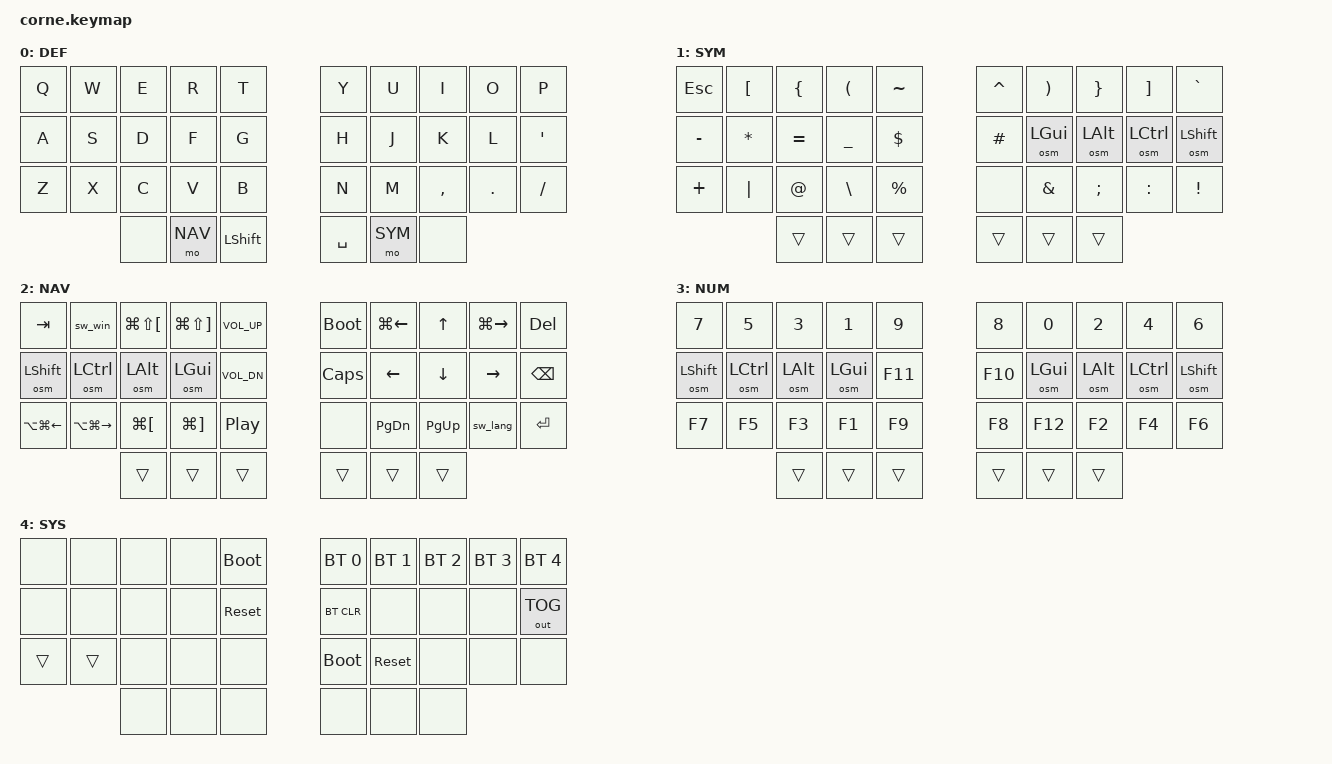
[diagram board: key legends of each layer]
/*
 * Corne 3x5+3 keymap, ported from Callum Oakley's QMK userspace:
 * https://github.com/qmk/qmk_firmware/tree/user-keymaps-still-present/users/callum
 *
 * Differences from Callum:
 *   - QWERTY base layer (Callum uses Colemak).
 *   - 3 thumb keys per side: Callum's two go on the middle + inner thumbs; the outer thumbs are blank.
 *   - One-shot mods (&osm) are a port of Callum's oneshot.c in src/behaviors/, tested in tests/oneshot/.
 *   - Added a SYS layer (hold Z+X) for Bluetooth, USB/BT output, bootloader and reset on each half.
 */

#include <behaviors.dtsi>
#include <dt-bindings/zmk/keys.h>
#include <dt-bindings/zmk/bt.h>
#include <dt-bindings/zmk/outputs.h>

#define DEF 0
#define SYM 1
#define NAV 2
#define NUM 3
#define SYS 4

// macOS shortcuts (Callum's defines; HOME/END renamed so they don't clobber ZMK's HOME/END keycodes)
#define M_HOME &kp LG(LEFT)
#define M_END  &kp LG(RIGHT)
#define FWD   &kp LG(RBKT)
#define BACK  &kp LG(LBKT)
#define TABL  &kp LG(LS(LBKT))
#define TABR  &kp LG(LS(RBKT))
#define SPCL  &kp LA(LG(LEFT))
#define SPC_R &kp LA(LG(RIGHT))

// One-shot modifiers (Callum's oneshot.c, see the osm behavior below)
#define OS_SHFT &osm LSHIFT
#define OS_CTRL &osm LCTRL
#define OS_ALT  &osm LALT
#define OS_CMD  &osm LGUI

#define XXX &none
#define ___ &trans

/ {
        chosen {
                zmk,physical-layout = &foostan_corne_5col_layout;
        };

        behaviors {
                // Callum's one-shot mods (src/behaviors/behavior_callum_oneshot.c). No timeout: a tapped
                // mod applies to the next key. Pressing NAV or SYM (positions 31, 34) cancels it.
                osm: callum_oneshot {
                        compatible = "zmk,behavior-callum-oneshot";
                        #binding-cells = <1>;
                        cancel-key-positions = <31 34>;
                };
                // Swappers (Callum's swapper.c), from the zmk-tri-state module.
                // First press: hold modifier + tap key. Further presses: tap key.
                // Any other key or layer change (e.g. releasing NAV) releases the modifier.
                sw_win: swapper_win {
                        compatible = "zmk,behavior-tri-state";
                        #binding-cells = <0>;
                        bindings = <&kt LGUI>, <&kp TAB>, <&kt LGUI>;
                        // Shift keys don't end the swap, so Shift + SW_WIN goes backwards (Cmd-Shift-Tab):
                        // 10 = NAV's one-shot Shift (A position), 32 = left inner thumb Shift.
                        ignored-key-positions = <10 32>;
                };
                sw_lang: swapper_lang {
                        compatible = "zmk,behavior-tri-state";
                        #binding-cells = <0>;
                        bindings = <&kt LCTRL>, <&kp SPACE>, <&kt LCTRL>;
                };
        };

        // Holding SYM + NAV activates NUM (Callum's tri-layer)
        conditional_layers {
                compatible = "zmk,conditional-layers";
                tri_layer {
                        if-layers = <SYM NAV>;
                        then-layer = <NUM>;
                };
        };

        combos {
                compatible = "zmk,combos";
                // Hold Z + X together for the SYS layer
                combo_sys {
                        key-positions = <20 21>;
                        bindings = <&mo SYS>;
                        timeout-ms = <50>;
                        require-prior-idle-ms = <150>;
                        layers = <DEF>;
                };
        };

        keymap {
                compatible = "zmk,keymap";

                def_layer {
                        display-name = "DEF";
// ┌─────┬─────┬─────┬─────┬─────┐   ┌─────┬─────┬─────┬─────┬─────┐
// │  Q  │  W  │  E  │  R  │  T  │   │  Y  │  U  │  I  │  O  │  P  │
// │  A  │  S  │  D  │  F  │  G  │   │  H  │  J  │  K  │  L  │  '  │
// │  Z  │  X  │  C  │  V  │  B  │   │  N  │  M  │  ,  │  .  │  /  │
// └─────┴─────┴─────┼─────┼─────┤   ├─────┼─────┼─────┴─────┴─────┘
//             │     │ NAV │SHIFT│   │SPACE│ SYM │     │
                        bindings = <
   &kp Q  &kp W  &kp E  &kp R     &kp T         &kp Y      &kp U    &kp I      &kp O    &kp P
   &kp A  &kp S  &kp D  &kp F     &kp G         &kp H      &kp J    &kp K      &kp L    &kp SQT
   &kp Z  &kp X  &kp C  &kp V     &kp B         &kp N      &kp M    &kp COMMA  &kp DOT  &kp FSLH
                 XXX    &mo NAV   &kp LSHIFT    &kp SPACE  &mo SYM  XXX
                        >;
                };

                sym_layer {
                        display-name = "SYM";
// ┌─────┬─────┬─────┬─────┬─────┐   ┌─────┬─────┬─────┬─────┬─────┐
// │ ESC │  [  │  {  │  (  │  ~  │   │  ^  │  )  │  }  │  ]  │  `  │
// │  -  │  *  │  =  │  _  │  $  │   │  #  │ CMD │ ALT │CTRL │SHIFT│  ← one-shot
// │  +  │  |  │  @  │  \  │  %  │   │     │  &  │  ;  │  :  │  !  │
// └─────┴─────┴─────┼─────┼─────┤   ├─────┼─────┼─────┴─────┴─────┘
//             │     │     │     │   │     │ ▓▓▓ │     │
                        bindings = <
   &kp ESC   &kp LBKT  &kp LBRC  &kp LPAR   &kp TILDE    &kp CARET  &kp RPAR  &kp RBRC  &kp RBKT   &kp GRAVE
   &kp MINUS &kp ASTRK &kp EQUAL &kp UNDER  &kp DLLR     &kp HASH   OS_CMD    OS_ALT    OS_CTRL    OS_SHFT
   &kp PLUS  &kp PIPE  &kp AT    &kp BSLH   &kp PRCNT    XXX        &kp AMPS  &kp SEMI  &kp COLON  &kp EXCL
                       ___       ___        ___          ___        ___       ___
                        >;
                };

                nav_layer {
                        display-name = "NAV";
// ┌─────┬─────┬─────┬─────┬─────┐   ┌─────┬─────┬─────┬─────┬─────┐
// │ TAB │SWWIN│TAB← │TAB→ │VOL+ │   │BOOT │HOME │  ↑  │ END │ DEL │
// │SHIFT│CTRL │ ALT │ CMD │VOL- │   │CAPS │  ←  │  ↓  │  →  │BSPC │  ← one-shot
// │SPC← │SPC→ │BACK │ FWD │PLAY │   │     │PGDN │PGUP │SWLNG│ ENT │
// └─────┴─────┴─────┼─────┼─────┤   ├─────┼─────┼─────┴─────┴─────┘
//             │     │ ▓▓▓ │     │   │     │     │     │
                        bindings = <
   &kp TAB  &sw_win  TABL     TABR     &kp C_VOL_UP   &bootloader  M_HOME    &kp UP    M_END     &kp DEL
   OS_SHFT  OS_CTRL  OS_ALT   OS_CMD   &kp C_VOL_DN   &kp CAPS     &kp LEFT  &kp DOWN  &kp RIGHT &kp BSPC
   SPCL     SPC_R    BACK     FWD      &kp C_PP       XXX          &kp PG_DN &kp PG_UP &sw_lang  &kp RET
                     ___      ___      ___            ___          ___       ___
                        >;
                };

                num_layer {
                        display-name = "NUM";
// ┌─────┬─────┬─────┬─────┬─────┐   ┌─────┬─────┬─────┬─────┬─────┐
// │  7  │  5  │  3  │  1  │  9  │   │  8  │  0  │  2  │  4  │  6  │
// │SHIFT│CTRL │ ALT │ CMD │ F11 │   │ F10 │ CMD │ ALT │CTRL │SHIFT│  ← one-shot
// │ F7  │ F5  │ F3  │ F1  │ F9  │   │ F8  │ F12 │ F2  │ F4  │ F6  │
// └─────┴─────┴─────┼─────┼─────┤   ├─────┼─────┼─────┴─────┴─────┘
//             │     │ ▓▓▓ │     │   │     │ ▓▓▓ │     │
                        bindings = <
   &kp N7   &kp N5   &kp N3   &kp N1   &kp N9    &kp N8   &kp N0   &kp N2   &kp N4   &kp N6
   OS_SHFT  OS_CTRL  OS_ALT   OS_CMD   &kp F11   &kp F10  OS_CMD   OS_ALT   OS_CTRL  OS_SHFT
   &kp F7   &kp F5   &kp F3   &kp F1   &kp F9    &kp F8   &kp F12  &kp F2   &kp F4   &kp F6
                     ___      ___      ___       ___      ___      ___
                        >;
                };

                sys_layer {
                        display-name = "SYS";
// Hold Z + X. BOOT = bootloader (flashing mode) and RST = restart, each on the half it's pressed on.
// ┌─────┬─────┬─────┬─────┬─────┐   ┌─────┬─────┬─────┬─────┬─────┐
// │     │     │     │     │BOOT │   │ BT1 │ BT2 │ BT3 │ BT4 │ BT5 │
// │     │     │     │     │ RST │   │BTCLR│     │     │     │USB/BT
// │ ▓▓▓ │ ▓▓▓ │     │     │     │   │BOOT │ RST │     │     │     │
// └─────┴─────┴─────┼─────┼─────┤   ├─────┼─────┼─────┴─────┴─────┘
//             │     │     │     │   │     │     │     │
                        bindings = <
   XXX  XXX  XXX  XXX  &bootloader    &bt BT_SEL 0  &bt BT_SEL 1  &bt BT_SEL 2  &bt BT_SEL 3  &bt BT_SEL 4
   XXX  XXX  XXX  XXX  &sys_reset     &bt BT_CLR    XXX           XXX           XXX           &out OUT_TOG
   ___  ___  XXX  XXX  XXX            &bootloader   &sys_reset    XXX           XXX           XXX
             XXX  XXX  XXX            XXX           XXX           XXX
                        >;
                };
        };
};
